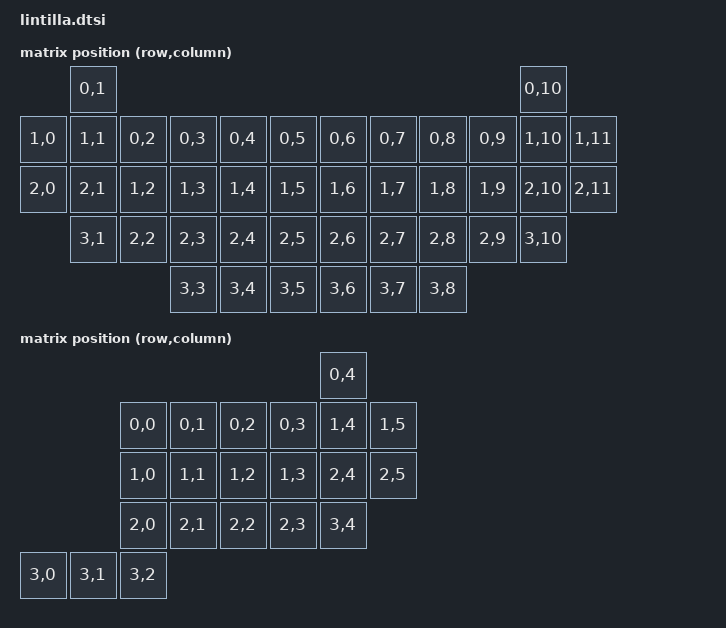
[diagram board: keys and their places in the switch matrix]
#include <dt-bindings/zmk/matrix_transform.h>
#include "lintilla-layouts.dtsi"

/ {
    chosen {
        zmk,physical-layout = &default_layout;
    };

    default_transform: keymap_transform_0 {
        compatible = "zmk,matrix-transform";
        columns = <12>;
        rows = <4>;
        //      SW6                              |                              SW6
        //  SW2 SW5 SW9 SW12 SW15 SW18           |           SW18 SW15 SW12 SW9 SW5 SW2
        //  SW1 SW4 SW8 SW11 SW14 SW17           |           SW17 SW14 SW11 SW8 SW4 SW1
        //      SW3 SW7 SW10 SW13 SW16           |           SW16 SW13 SW10 SW7 SW3
        //                        SW19 SW20 SW21 | SW21 SW20 SW19
        map = <
         RC(0,1)                                                                   RC(0,10)
 RC(1,0) RC(1,1) RC(0,2) RC(0,3) RC(0,4) RC(0,5)   RC(0,6) RC(0,7) RC(0,8) RC(0,9) RC(1,10) RC(1,11)
 RC(2,0) RC(2,1) RC(1,2) RC(1,3) RC(1,4) RC(1,5)   RC(1,6) RC(1,7) RC(1,8) RC(1,9) RC(2,10) RC(2,11)
         RC(3,1) RC(2,2) RC(2,3) RC(2,4) RC(2,5)   RC(2,6) RC(2,7) RC(2,8) RC(2,9) RC(3,10)
                         RC(3,3) RC(3,4) RC(3,5)   RC(3,6) RC(3,7) RC(3,8)
        >;
    };

    macro_right_transform: keymap_transform_1 {
        compatible = "zmk,matrix-transform";
        columns = <6>;
        rows = <4>;
        //                               SW6
        //            SW18 SW15 SW12 SW9 SW5 SW2
        //            SW17 SW14 SW11 SW8 SW4 SW1
        //            SW16 SW13 SW10 SW7 SW3
        //  SW21 SW20 SW19
        map = <
                                                            RC(0,4)
                            RC(0,0) RC(0,1) RC(0,2) RC(0,3) RC(1,4) RC(1,5)
                            RC(1,0) RC(1,1) RC(1,2) RC(1,3) RC(2,4) RC(2,5)
                            RC(2,0) RC(2,1) RC(2,2) RC(2,3) RC(3,4)
            RC(3,0) RC(3,1) RC(3,2)
        >;
    };
};

// vim: expandtab softtabstop=4 shiftwidth=4
